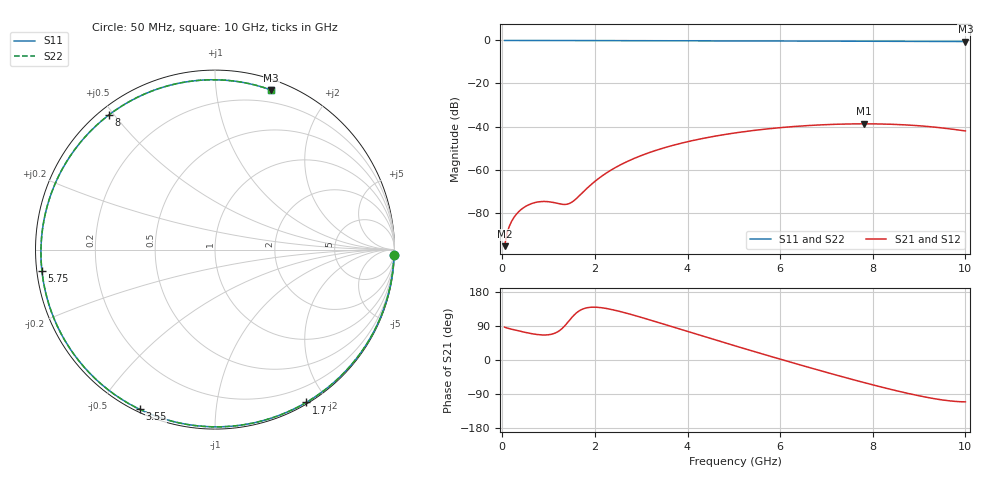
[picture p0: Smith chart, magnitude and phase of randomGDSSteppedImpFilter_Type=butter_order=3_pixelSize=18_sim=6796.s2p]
! freq	dB(S11)	phase(S11)	dB(S12)	phase(S12)
!  dB(S21)	phase(S21)	dB(S22)	phase(S22)
!S-par simulation data
#  GHz  S  DB  R 50
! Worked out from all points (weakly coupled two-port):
!   200 points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, 50 MHz to 10 GHz, reference 50 ohm
!   highest |S21| = -38.74 dB at 7.8 GHz (marker M1); lowest = -95.6 dB at 50 MHz (marker M2)
!   lowest |S11| = -0.5 dB at 10 GHz (marker M3), VSWR 33.77, Z = 4.43 + j70.5 ohm
!   |S11| at or under -10 dB: nowhere
!   |S22| runs from -0.5 to 0.0 dB; largest |S21 - S12| = 0
!   S11 on the Smith chart (normalised r, x): 50 MHz: 5, -64; 1.7 GHz: 0.02, -1.76; 3.55 GHz: 0.01, -0.63; 5.75 GHz: 0.01, -0.06; 8 GHz: 0.03, +0.48; 10 GHz: 0.09, +1.41
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0.05  -0.02 -1.8  -95.57 86.7  -95.57 86.7  -0.02 -1.8
0.3  -0.02 -10.8  -80.83 78.4  -80.83 78.4  -0.02 -10.8
0.55  -0.03 -19.7  -76.56 71.5  -76.56 71.5  -0.03 -19.7
0.8  -0.04 -28.5  -74.94 66.7  -74.94 66.7  -0.04 -28.5
1.4  -0.06 -49.2  -76.08 97.3  -76.08 97.3  -0.06 -49.2
1.55  -0.07 -54.2  -74.38 118.6  -74.38 118.6  -0.07 -54.2
1.7  -0.07 -59.2  -71.37 132.4  -71.37 132.4  -0.07 -59.2
1.75  -0.08 -60.8  -70.32 135.1  -70.32 135.1  -0.08 -60.8
2.1  -0.09 -72.1  -63.80 138.6  -63.80 138.6  -0.09 -72.1
2.45  -0.10 -83.1  -58.96 130.8  -58.96 130.8  -0.10 -83.1
2.9  -0.12 -96.6  -54.33 116.1  -54.33 116.1  -0.12 -96.6
3.4  -0.13 -111.0  -50.50 97.9  -50.50 97.9  -0.13 -111.0
3.55  -0.14 -115.2  -49.54 92.3  -49.54 92.3  -0.14 -115.2
4.3  -0.17 -135.6  -45.66 64.2  -45.66 64.2  -0.17 -135.6
5.05  -0.21 -155.1  -42.90 36.5  -42.90 36.5  -0.21 -155.1
5.75  -0.25 -172.9  -41.04 11.1  -41.04 11.1  -0.25 -172.9
6.7  -0.31 162.8  -39.43 -22.3  -39.43 -22.3  -0.31 162.8
7.8  -0.38 133.8  -38.74 -59.2  -38.74 -59.2  -0.38 133.8
8  -0.40 128.4  -38.76 -65.6  -38.76 -65.6  -0.40 128.4
8.35  -0.42 118.7  -38.92 -76.4  -38.92 -76.4  -0.42 118.7
9.2  -0.47 94.3  -40.00 -99.3  -40.00 -99.3  -0.47 94.3
10  -0.51 70.6  -42.05 -110.4  -42.05 -110.4  -0.51 70.6
